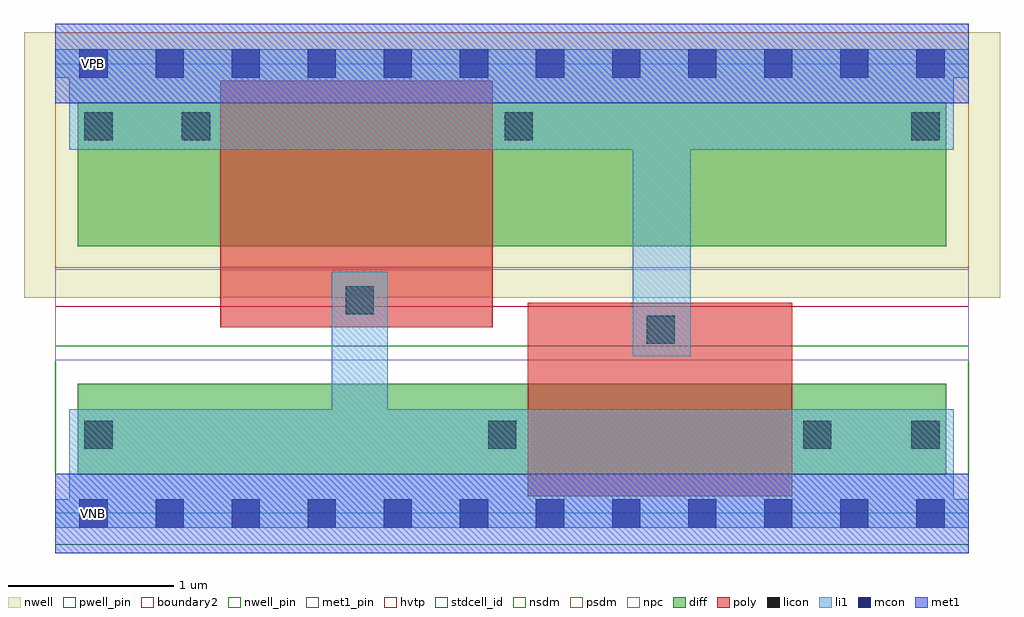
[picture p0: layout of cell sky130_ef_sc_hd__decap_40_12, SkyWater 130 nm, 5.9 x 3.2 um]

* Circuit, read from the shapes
.subckt sky130_ef_sc_hd__decap_40_12 VGND VNB VPB VPWR
XM1 VGND VPWR VGND VNB sky130_fd_pr__nfet_01v8 w=0.55 l=1.6
XM2 VPWR VGND VPWR VPB sky130_fd_pr__pfet_01v8_hvt w=0.87 l=1.65
.ends

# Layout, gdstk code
import gdstk
lib = gdstk.Library(unit=1e-6, precision=1e-09)
def R(c, l, rs):  # rectangles x0, y0, x1, y1
    for r in rs: c.add(gdstk.rectangle(r[:2], r[2:], *l))
def A(c, l, x, y, w, h, nx, ny, dx, dy):  # array of equal rectangles
    R(c, l, [(x+i*dx, y+j*dy, x+i*dx+w, y+j*dy+h) for i in range(nx) for j in range(ny)])
def P(c, l, *ps):  # polygons
    for p in ps: c.add(gdstk.Polygon(p, *l))
nwell_pin = (64, 16)
nwell = (64, 20)
diff = (65, 20)
poly = (66, 20)
licon = (66, 44)
li1 = (67, 20)
mcon = (67, 44)
met1_pin = (68, 16)
met1 = (68, 20)
hvtp = (78, 44)
stdcell_id = (81, 4)
nsdm = (93, 44)
psdm = (94, 20)
npc = (95, 20)
pwell_pin = (122, 16)
boundary2 = (236, 0)

sky130_ef_sc_hd__decap_4 = lib.new_cell('sky130_ef_sc_hd__decap_40_12')
R(sky130_ef_sc_hd__decap_4, nwell_pin, [(0.145,2.635,0.315,2.805)])
R(sky130_ef_sc_hd__decap_4, nwell, [(-0.19,1.305,5.71,2.91)])
R(sky130_ef_sc_hd__decap_4, diff, [(0.135,0.235,5.385,0.785), (0.135,1.615,5.385,2.485)])
P(sky130_ef_sc_hd__decap_4, poly, [(0.995,1.125),(0.995,2.615),(2.645,2.615),(2.645,1.485),(2.645,1.125)],
  [(2.855,0.105),(2.855,0.915),(2.855,1.275),(4.455,1.275),(4.455,0.105)])
R(sky130_ef_sc_hd__decap_4, licon, [(0.175,0.39,0.345,0.56), (2.615,0.39,2.785,0.56), (4.52,0.39,4.69,0.56), (5.175,0.39,5.345,0.56), (3.575,1.025,3.745,1.195), (1.755,1.205,1.925,1.375), (0.175,2.255,0.345,2.425), (0.765,2.255,0.935,2.425), (2.715,2.255,2.885,2.425), (5.175,2.255,5.345,2.425)])
R(sky130_ef_sc_hd__decap_4, li1, [(0,-0.085,5.52,0.085), (0.085,0.085,5.43,0.63), (1.67,0.63,2.01,1.46), (3.49,0.95,3.84,2.2), (0.085,2.2,5.43,2.635), (0,2.635,5.52,2.805)])
A(sky130_ef_sc_hd__decap_4, mcon, 0.145, -0.085, 0.17, 0.17, 12, 2, 0.46, 2.72)
R(sky130_ef_sc_hd__decap_4, met1_pin, [(0.145,-0.085,0.315,0.085), (0.145,2.635,0.315,2.805)])
R(sky130_ef_sc_hd__decap_4, hvtp, [(0,1.25,5.52,2.72)])
R(sky130_ef_sc_hd__decap_4, stdcell_id, [(0,0,5.52,2.72)])
R(sky130_ef_sc_hd__decap_4, nsdm, [(0,-0.19,5.52,1.015)])
R(sky130_ef_sc_hd__decap_4, psdm, [(0,1.485,5.52,2.91)])
R(sky130_ef_sc_hd__decap_4, npc, [(0,0.925,5.52,1.475)])
R(sky130_ef_sc_hd__decap_4, pwell_pin, [(0.145,-0.085,0.315,0.085)])
R(sky130_ef_sc_hd__decap_4, boundary2, [(0,0,5.52,2.72)])
sky130_ef_sc_hd__decap_4.add(gdstk.FlexPath([(0,2.72),(5.52,2.72)], 0.48, ends="flush", simple_path=True, layer=68, datatype=20))  # met1
sky130_ef_sc_hd__decap_4.add(gdstk.FlexPath([(0,0),(5.52,0)], 0.48, ends="flush", simple_path=True, layer=68, datatype=20))  # met1
sky130_ef_sc_hd__decap_4.add(gdstk.Label('VNB', (0.23,0), layer=64, texttype=59))
sky130_ef_sc_hd__decap_4.add(gdstk.Label('VPB', (0.23,2.72), layer=64, texttype=5))
sky130_ef_sc_hd__decap_4.add(gdstk.Label('VGND', (0.23,0), layer=68, texttype=5))
sky130_ef_sc_hd__decap_4.add(gdstk.Label('VPWR', (0.23,2.72), layer=68, texttype=5))
sky130_ef_sc_hd__decap_4.add(gdstk.Label('decap_40_12', (0,0), layer=83, texttype=44))

lib.write_gds('sky130_ef_sc_hd__decap_40_12.gds')
